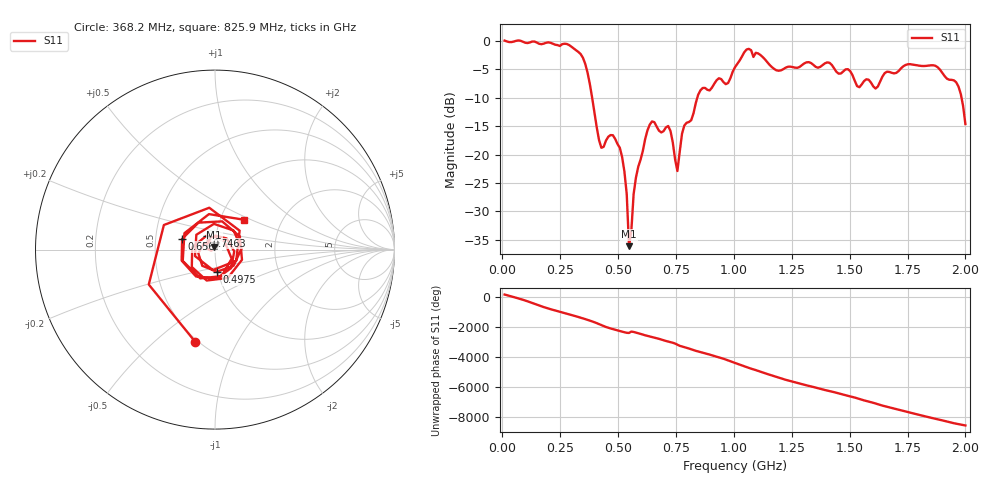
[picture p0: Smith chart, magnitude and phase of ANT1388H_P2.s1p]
!Created with skrf (http://scikit-rf.org).
# Hz S RI R 50.0
!freq ReS11 ImS11
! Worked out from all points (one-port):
!   201 points, 10 MHz to 2 GHz, reference 50 ohm
!   lowest |S11| = -36.1 dB at 547.3 MHz (marker M1), VSWR 1.03, Z = 49.5 + j1.48 ohm
!   |S11| at or under -10 dB: 388.1 MHz to 842.2 MHz (454.1 MHz wide, 73.8 % of centre); 1.983 GHz to end of sweep
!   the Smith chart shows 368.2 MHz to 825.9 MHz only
!   S11 on the Smith chart (normalised r, x): 368.2 MHz: 0.48, -0.69; 497.6 MHz: 0.99, -0.25; 656.8 MHz: 0.69, +0.09; 746.3 MHz: 0.90, +0.14; 825.9 MHz: 1.29, +0.45
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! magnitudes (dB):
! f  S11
! 10 MHz  0.1
! 258.8 MHz  -0.6
! 338.4 MHz  -2.3
! 368.2 MHz  -5.6
! 427.9 MHz  -18.8
! 467.7 MHz  -16.6
! 497.6 MHz  -18.1
! 507.5 MHz  -18.8
! 537.4 MHz  -26.9
! 547.3 MHz  -36.1
! 577.1 MHz  -24.1
! 626.9 MHz  -15.7
! 656.8 MHz  -14.3
! 716.5 MHz  -15.0
! 746.3 MHz  -20.8
! 756.2 MHz  -22.9
! 776.1 MHz  -16.3
! 825.9 MHz  -12.7
! 855.8 MHz  -8.7
! 975.1 MHz  -7.4
! 1.005 GHz  -4.6
! 1.065 GHz  -1.4
! 1.254 GHz  -4.6
! 1.502 GHz  -5.3
! 1.612 GHz  -8.4
! 1.751 GHz  -4.1
! 1.96 GHz  -7.3
! 2 GHz  -14.6
